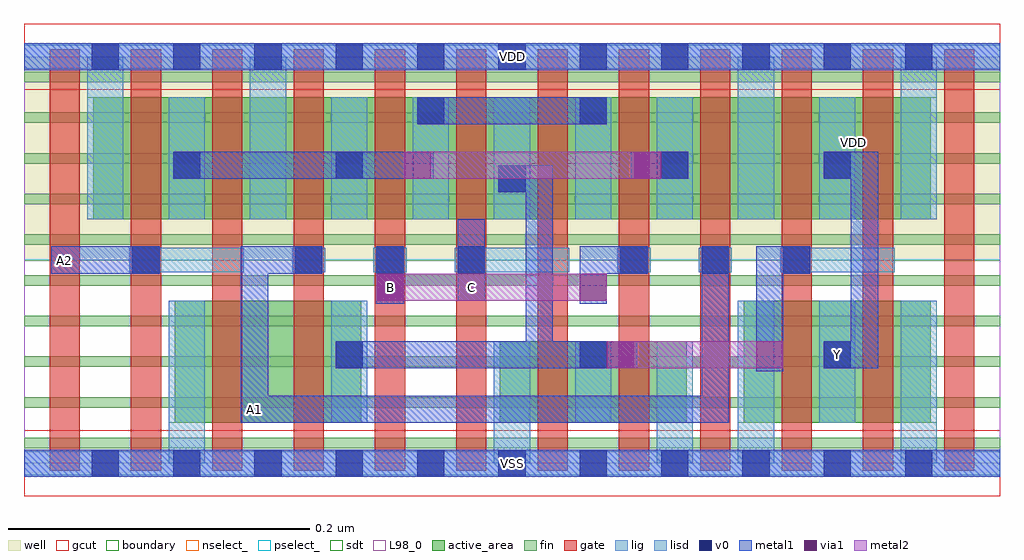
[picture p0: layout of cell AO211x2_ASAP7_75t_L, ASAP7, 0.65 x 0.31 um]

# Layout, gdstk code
import gdstk
lib = gdstk.Library(unit=1e-6, precision=2.5e-10)
def R(c, l, rs):  # rectangles x0, y0, x1, y1
    for r in rs: c.add(gdstk.rectangle(r[:2], r[2:], *l))
def A(c, l, x, y, w, h, nx, ny, dx, dy):  # array of equal rectangles
    R(c, l, [(x+i*dx, y+j*dy, x+i*dx+w, y+j*dy+h) for i in range(nx) for j in range(ny)])
def P(c, l, *ps):  # polygons
    for p in ps: c.add(gdstk.Polygon(p, *l))
well = (1, 0)
fin = (2, 0)
gate = (7, 0)
gcut = (10, 0)
active_area = (11, 0)
nselect_ = (12, 0)
pselect_ = (13, 0)
lig = (16, 0)
lisd = (17, 0)
v0 = (18, 0)
metal1 = (19, 0)
metal2 = (20, 0)
via1 = (21, 0)
sdt = (88, 0)
L98_0 = (98, 0)
boundary = (100, 0)

ao211x2_asap7_75t_l = lib.new_cell('AO211x2_ASAP7_75t_L')
R(ao211x2_asap7_75t_l, well, [(0,0.135,0.648,0.27)])
A(ao211x2_asap7_75t_l, fin, 0, 0.01, 0.648, 0.007, 1, 10, 0, 0.027)
A(ao211x2_asap7_75t_l, gate, 0.017, -0.005, 0.02, 0.28, 12, 1, 0.054, 0)
R(ao211x2_asap7_75t_l, gcut, [(0,-0.022,0.648,0.022), (0,0.248,0.648,0.292)])
R(ao211x2_asap7_75t_l, active_area, [(0.1,0.027,0.224,0.108), (0.316,0.027,0.44,0.081), (0.478,0.027,0.602,0.108), (0.046,0.162,0.602,0.243)])
R(ao211x2_asap7_75t_l, nselect_, [(0,0,0.648,0.135)])
R(ao211x2_asap7_75t_l, pselect_, [(0,0.135,0.648,0.27)])
A(ao211x2_asap7_75t_l, lig, 0.07, 0.127, 0.076, 0.016, 3, 1, 0.216, 0)
R(ao211x2_asap7_75t_l, lig, [(0,-0.008,0.648,0.008), (0.178,0.127,0.2,0.143), (0.232,0.127,0.254,0.143), (0.394,0.127,0.416,0.143), (0.448,0.127,0.47,0.143), (0,0.262,0.648,0.278)])
A(ao211x2_asap7_75t_l, lisd, 0.204, 0.162, 0.024, 0.081, 5, 1, 0.054, 0)
R(ao211x2_asap7_75t_l, lisd, [(0.096,0,0.12,0.108), (0.312,0,0.336,0.081), (0.42,0,0.444,0.081), (0.474,0,0.498,0.108), (0.582,0,0.606,0.108), (0.204,0.027,0.228,0.108), (0.366,0.027,0.39,0.081), (0.528,0.027,0.552,0.108), (0.042,0.162,0.066,0.27), (0.096,0.162,0.12,0.243), (0.15,0.162,0.174,0.27), (0.474,0.162,0.498,0.27), (0.528,0.162,0.552,0.243), (0.582,0.162,0.606,0.27)])
A(ao211x2_asap7_75t_l, v0, 0.045, -0.009, 0.018, 0.018, 11, 2, 0.054, 0.27)
A(ao211x2_asap7_75t_l, v0, 0.207, 0.063, 0.018, 0.018, 3, 1, 0.162, 0)
A(ao211x2_asap7_75t_l, v0, 0.18, 0.126, 0.018, 0.018, 3, 1, 0.054, 0)
A(ao211x2_asap7_75t_l, v0, 0.396, 0.126, 0.018, 0.018, 3, 1, 0.054, 0)
R(ao211x2_asap7_75t_l, v0, [(0.072,0.126,0.09,0.144), (0.315,0.18,0.333,0.198), (0.099,0.189,0.117,0.207), (0.207,0.189,0.225,0.207), (0.423,0.189,0.441,0.207), (0.531,0.189,0.549,0.207), (0.261,0.225,0.279,0.243), (0.369,0.225,0.387,0.243)])
R(ao211x2_asap7_75t_l, metal1, [(0,-0.009,0.648,0.009), (0.234,0.106,0.252,0.144), (0.288,0.108,0.306,0.162), (0.018,0.126,0.09,0.144), (0.099,0.189,0.272,0.207), (0.403,0.189,0.441,0.207), (0.261,0.225,0.387,0.243), (0,0.261,0.648,0.279)])
P(ao211x2_asap7_75t_l, metal1, [(0.144,0.027),(0.144,0.144),(0.198,0.144),(0.198,0.126),(0.162,0.126),(0.162,0.045),(0.45,0.045),(0.45,0.144),(0.468,0.144),(0.468,0.027)],
  [(0.531,0.063),(0.531,0.081),(0.549,0.081),(0.549,0.189),(0.531,0.189),(0.531,0.207),(0.567,0.207),(0.567,0.063)],
  [(0.486,0.061),(0.486,0.144),(0.522,0.144),(0.522,0.126),(0.504,0.126),(0.504,0.061)],
  [(0.207,0.063),(0.207,0.081),(0.333,0.081),(0.333,0.18),(0.315,0.18),(0.315,0.198),(0.351,0.198),(0.351,0.081),(0.407,0.081),(0.407,0.063)],
  [(0.369,0.106),(0.369,0.144),(0.414,0.144),(0.414,0.126),(0.387,0.126),(0.387,0.106)])
R(ao211x2_asap7_75t_l, metal2, [(0.387,0.063,0.504,0.081), (0.234,0.108,0.387,0.126), (0.252,0.189,0.423,0.207)])
R(ao211x2_asap7_75t_l, via1, [(0.387,0.063,0.405,0.081), (0.486,0.063,0.504,0.081), (0.234,0.108,0.252,0.126), (0.369,0.108,0.387,0.126), (0.252,0.189,0.27,0.207), (0.405,0.189,0.423,0.207)])
A(ao211x2_asap7_75t_l, sdt, 0.312, 0.027, 0.024, 0.054, 3, 1, 0.054, 0)
A(ao211x2_asap7_75t_l, sdt, 0.474, 0.027, 0.024, 0.081, 3, 1, 0.054, 0)
A(ao211x2_asap7_75t_l, sdt, 0.042, 0.162, 0.024, 0.081, 11, 1, 0.054, 0)
R(ao211x2_asap7_75t_l, sdt, [(0.096,0.027,0.12,0.108), (0.204,0.027,0.228,0.108)])
R(ao211x2_asap7_75t_l, L98_0, [(0,0,0.648,0.27)])
R(ao211x2_asap7_75t_l, boundary, [(0,0,0.648,0.27)])
ao211x2_asap7_75t_l.add(gdstk.Label('Y', (0.54,0.072), layer=19, texttype=251))
ao211x2_asap7_75t_l.add(gdstk.Label('C', (0.297,0.117), layer=19, texttype=251))
ao211x2_asap7_75t_l.add(gdstk.Label('B', (0.243,0.117), layer=19, texttype=251))
ao211x2_asap7_75t_l.add(gdstk.Label('A2', (0.027,0.135), layer=19, texttype=251))
ao211x2_asap7_75t_l.add(gdstk.Label('A1', (0.153,0.036), layer=19, texttype=251))
ao211x2_asap7_75t_l.add(gdstk.Label('VSS', (0.324,0), layer=19, texttype=251))
ao211x2_asap7_75t_l.add(gdstk.Label('VDD', (0.324,0.27), layer=19, texttype=251))
ao211x2_asap7_75t_l.add(gdstk.Label('VDD', (0.551,0.213), layer=1, texttype=251))
ao211x2_asap7_75t_l.add(gdstk.Label('VSS', (0.745,0.213), layer=3, texttype=251))

lib.write_gds('AO211x2_ASAP7_75t_L.gds')
